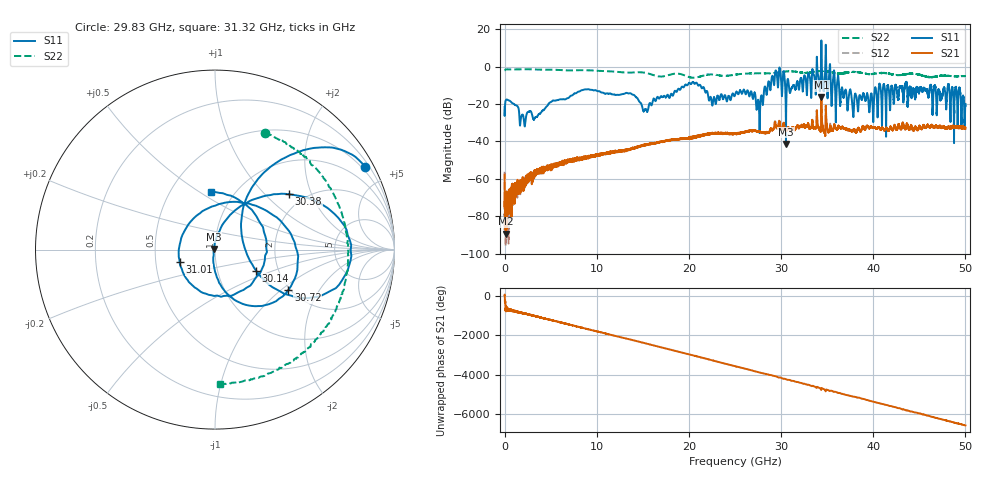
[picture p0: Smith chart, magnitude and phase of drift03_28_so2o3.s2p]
!Created with skrf (http://scikit-rf.org).
# Hz S RI R 50.0
!freq ReS11 ImS11 ReS21 ImS21 ReS12 ImS12 ReS22 ImS22
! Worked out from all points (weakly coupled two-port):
!   10001 points, 300 kHz to 50 GHz, reference 50 ohm
!   highest |S21| = -16.31 dB at 34.37 GHz (marker M1); lowest = -89.4 dB at 165.3 MHz (marker M2)
!   lowest |S11| = -41.4 dB at 30.53 GHz (marker M3), VSWR 1.02, Z = 49.2 + j0.336 ohm
!   |S11| at or under -10 dB: start of sweep to 19.56 GHz; 21.25 GHz to 28.55 GHz (7.297 GHz wide, 29.3 % of centre); 36.28 GHz to 40.62 GHz (4.341 GHz wide, 11.3 % of centre) (the widest 3 of 39)
!   |S22| runs from -5.9 to -1.3 dB; largest |S21 - S12| = 0.03
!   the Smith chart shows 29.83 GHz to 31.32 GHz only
!   S11 on the Smith chart (normalised r, x): 29.83 GHz: 0.36, +3.87; 30.14 GHz: 1.53, -0.39; 30.38 GHz: 1.67, +1.40; 30.72 GHz: 1.96, -1.12; 31.01 GHz: 0.67, -0.10; 31.32 GHz: 0.79, +0.56
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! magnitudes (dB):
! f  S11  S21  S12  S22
! 300 kHz  -21.6  -57.8  -56.2  -2.1
! 165.3 MHz  -17.7  -89.4  -80.0  -1.5
! 3.3 GHz  -27.3  -57.2  -56.3  -1.5
! 8.335 GHz  -12.6  -49.0  -48.8  -1.9
! 15.29 GHz  -22.8  -42.0  -41.8  -3.3
! 16.67 GHz  -16.5  -40.7  -40.4  -5.2
! 20.26 GHz  -9.1  -38.1  -38.2  -5.8
! 22.71 GHz  -16.5  -35.6  -35.7  -4.2
! 25 GHz  -15.3  -35.9  -35.8  -4.3
! 27.53 GHz  -17.9  -34.6  -34.5  -3.5
! 29.83 GHz  -0.4  -29.4  -28.7  -3.0
! 30.14 GHz  -11.8  -33.2  -33.4  -2.8
! 30.38 GHz  -5.8  -32.4  -32.6  -2.7
! 30.53 GHz  -41.4  -34.1  -34.3  -2.6
! 30.72 GHz  -6.6  -32.8  -32.8  -2.5
! 31.01 GHz  -13.6  -34.5  -34.1  -2.4
! 31.32 GHz  -9.9  -32.4  -32.3  -2.5
! 33.34 GHz  -7.2  -31.3  -31.4  -2.9
! 34.37 GHz  14.0  -16.3  -17.8  -2.3
! 37.85 GHz  -27.0  -33.8  -34.3  -2.9
! 41.67 GHz  -11.6  -34.2  -34.0  -3.7
! 50 GHz  -19.9  -33.3  -32.6  -5.0
